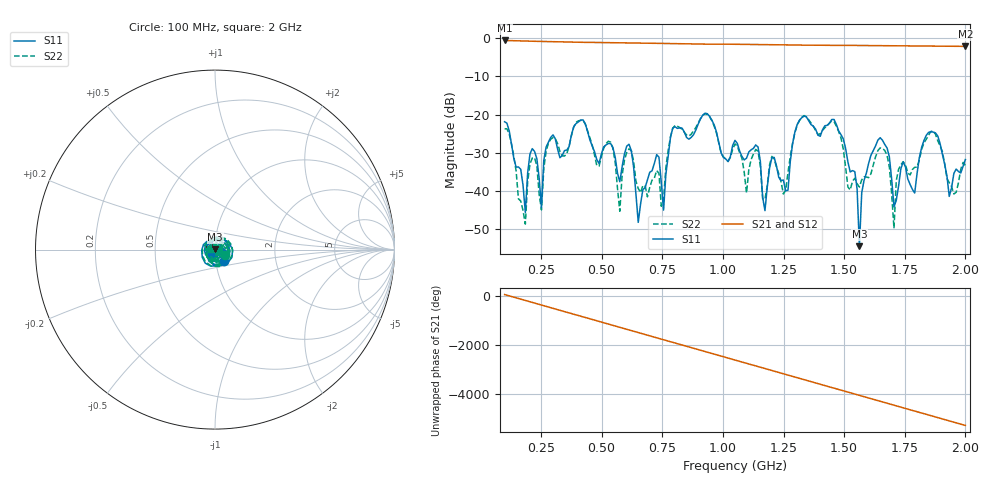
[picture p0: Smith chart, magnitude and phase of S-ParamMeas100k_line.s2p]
!Keysight Technologies,N5242B,MY48420967,A.15.65.19
!Date: Thursday, December 15, 2022 12:03:33
!Correction: S11(C  2-Port  )
!S21(C  2-Port  )
!S12(C  2-Port  )
!S22(C  2-Port  )
!S2P File: Measurements: S11, S21, S12, S22:
# Hz S  dB  R 50
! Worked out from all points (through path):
!   201 points, 100 MHz to 2 GHz, reference 50 ohm
!   highest |S21| = -0.63 dB at 100 MHz (marker M1); lowest = -2.2 dB at 2 GHz (marker M2)
!   group delay of S21, straight-line fit = 7.85 ns
!   lowest |S11| = -54.4 dB at 1.563 GHz (marker M3), VSWR 1.00, Z = 50.1 + j0.155 ohm
!   |S11| at or under -10 dB: start of sweep to end of sweep
!   |S22| runs from -49.8 to -19.8 dB; largest |S21 - S12| = 0.001
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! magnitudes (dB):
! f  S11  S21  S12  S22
! 100 MHz  -21.9  -0.6  -0.6  -23.7
! 185.5 MHz  -45.6  -0.8  -0.8  -48.7
! 214 MHz  -28.9  -0.8  -0.8  -31.4
! 252 MHz  -44.4  -0.9  -0.9  -45.0
! 280.5 MHz  -27.2  -0.9  -0.9  -27.5
! 423 MHz  -21.4  -1.1  -1.1  -21.6
! 575 MHz  -37.6  -1.2  -1.3  -45.3
! 613 MHz  -27.8  -1.3  -1.3  -29.0
! 651 MHz  -48.2  -1.3  -1.3  -39.3
! 736.5 MHz  -31.2  -1.4  -1.4  -35.4
! 755.5 MHz  -45.0  -1.4  -1.4  -42.2
! 793.5 MHz  -23.5  -1.5  -1.5  -23.6
! 1.05 GHz  -26.8  -1.6  -1.6  -27.7
! 1.173 GHz  -45.1  -1.7  -1.7  -42.2
! 1.373 GHz  -23.1  -1.9  -1.9  -23.1
! 1.496 GHz  -26.4  -1.9  -1.9  -29.0
! 1.563 GHz  -54.4  -1.9  -2.0  -39.0
! 1.611 GHz  -30.7  -2.0  -2.0  -35.5
! 1.687 GHz  -31.1  -2.0  -2.0  -33.7
! 1.706 GHz  -44.2  -2.0  -2.0  -49.8
! 1.857 GHz  -24.5  -2.1  -2.1  -24.5
! 2 GHz  -31.8  -2.2  -2.2  -33.4
